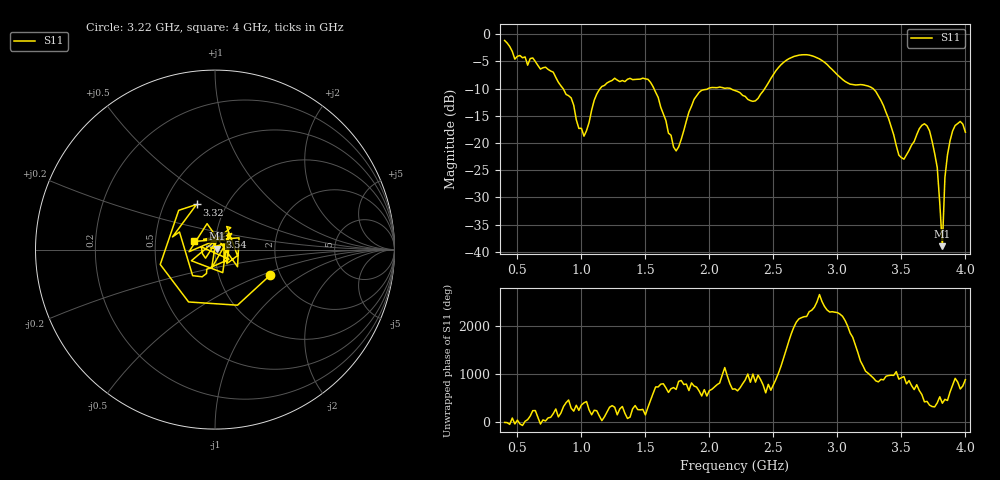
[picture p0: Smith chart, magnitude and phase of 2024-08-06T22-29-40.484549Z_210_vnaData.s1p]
!Created with skrf (http://scikit-rf.org).
# Hz S RI R 50.0
!freq ReS11 ImS11
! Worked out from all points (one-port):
!   181 points, 400 MHz to 4 GHz, reference 50 ohm
!   lowest |S11| = -39.0 dB at 3.82 GHz (marker M1), VSWR 1.02, Z = 51 + j0.478 ohm
!   |S11| at or under -10 dB: 857.1 MHz to 1.146 GHz (289.2 MHz wide, 28.9 % of centre); 1.567 GHz to 1.99 GHz (422.6 MHz wide, 23.8 % of centre); 3.28 GHz to end of sweep (the widest 3 of 4)
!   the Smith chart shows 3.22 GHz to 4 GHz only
!   S11 on the Smith chart (normalised r, x): 3.22 GHz: 1.77, -0.57; 3.32 GHz: 0.72, +0.39; 3.54 GHz: 1.04, +0.15; 4 GHz: 0.79, +0.07
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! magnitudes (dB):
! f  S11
! 400 MHz  -1.1
! 480 MHz  -4.6
! 620 MHz  -4.3
! 860 MHz  -10.1
! 1.02 GHz  -18.7
! 1.14 GHz  -10.2
! 1.3 GHz  -8.7
! 1.52 GHz  -8.3
! 1.72 GHz  -20.7
! 1.76 GHz  -20.7
! 1.92 GHz  -10.7
! 2.2 GHz  -10.4
! 2.36 GHz  -12.2
! 2.66 GHz  -4.1
! 3.1 GHz  -9.2
! 3.22 GHz  -9.4
! 3.32 GHz  -11.3
! 3.48 GHz  -22.2
! 3.54 GHz  -22.1
! 3.56 GHz  -21.4
! 3.66 GHz  -16.7
! 3.72 GHz  -17.8
! 3.78 GHz  -24.5
! 3.82 GHz  -39.0
! 3.84 GHz  -26.3
! 3.88 GHz  -19.6
! 3.96 GHz  -16.0
! 4 GHz  -18.0
